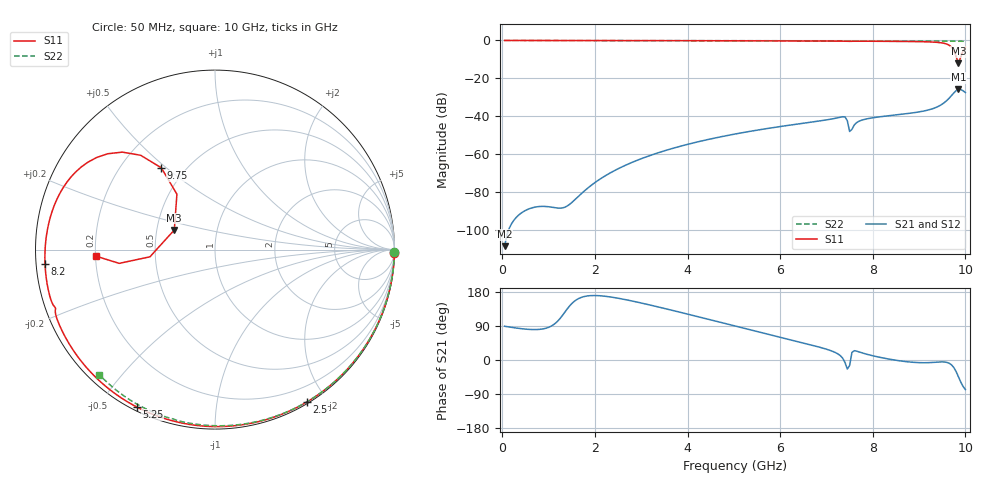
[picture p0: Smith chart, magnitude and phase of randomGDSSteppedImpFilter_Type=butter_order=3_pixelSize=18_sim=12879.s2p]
! freq	dB(S11)	phase(S11)	dB(S12)	phase(S12)
!  dB(S21)	phase(S21)	dB(S22)	phase(S22)
!S-par simulation data
#  GHz  S  DB  R 50
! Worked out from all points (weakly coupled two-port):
!   200 points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, 50 MHz to 10 GHz, reference 50 ohm
!   highest |S21| = -25.86 dB at 9.85 GHz (marker M1); lowest = -108.8 dB at 50 MHz (marker M2)
!   lowest |S11| = -12.0 dB at 9.85 GHz (marker M3), VSWR 1.67, Z = 30.9 + j7.2 ohm
!   |S11| at or under -10 dB: 9.821 GHz to 9.881 GHz (59.45 MHz wide, 0.603 % of centre)
!   |S22| runs from -0.4 to 0.0 dB; largest |S21 - S12| = 0
!   S11 on the Smith chart (normalised r, x): 50 MHz: 0, -94; 2.5 GHz: 0.02, -1.77; 5.25 GHz: 0.01, -0.62; 8.2 GHz: 0.03, -0.04; 9.75 GHz: 0.37, +0.48; 10 GHz: 0.20, -0.03
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0.05  -0.00 -1.2  -108.76 89.0  -108.76 89.0  -0.00 -0.8
0.85  -0.03 -20.6  -87.73 81.5  -87.73 81.5  -0.02 -13.0
1.75  -0.05 -41.9  -80.05 166.9  -80.05 166.9  -0.03 -26.5
2.5  -0.08 -59.0  -67.85 163.0  -67.85 163.0  -0.05 -37.5
3.4  -0.10 -78.7  -59.12 139.1  -59.12 139.1  -0.07 -50.5
5.05  -0.17 -112.5  -49.36 89.1  -49.36 89.1  -0.11 -73.0
5.25  -0.18 -116.5  -48.47 83.0  -48.47 83.0  -0.12 -75.6
6.7  -0.28 -144.8  -43.08 38.8  -43.08 38.8  -0.18 -94.1
7.4  -0.41 -159.0  -40.42 -6.5  -40.42 -6.5  -0.23 -102.7
7.45  -0.48 -159.7  -42.40 -23.8  -42.40 -23.8  -0.24 -103.3
7.5  -0.46 -160.2  -48.14 -14.6  -48.14 -14.6  -0.25 -103.9
7.7  -0.39 -164.3  -42.73 21.4  -42.73 21.4  -0.25 -106.2
8.2  -0.44 -175.0  -40.21 5.9  -40.21 5.9  -0.28 -112.1
8.35  -0.46 -178.4  -39.77 2.4  -39.77 2.4  -0.29 -113.9
8.95  -0.61 166.8  -37.97 -6.7  -37.97 -6.7  -0.35 -120.9
9.35  -0.93 153.2  -35.57 -6.0  -35.57 -6.0  -0.39 -125.5
9.6  -1.93 138.2  -31.72 -6.3  -31.72 -6.3  -0.41 -128.3
9.75  -5.27 123.3  -27.75 -19.9  -27.75 -19.9  -0.43 -130.0
9.8  -8.53 124.5  -26.53 -30.5  -26.53 -30.5  -0.43 -130.5
9.85  -11.98 154.3  -25.86 -44.2  -25.86 -44.2  -0.43 -131.1
9.9  -8.76 -173.7  -25.94 -58.2  -25.94 -58.2  -0.43 -131.7
10  -3.52 -176.9  -27.51 -78.0  -27.51 -78.0  -0.44 -132.9
